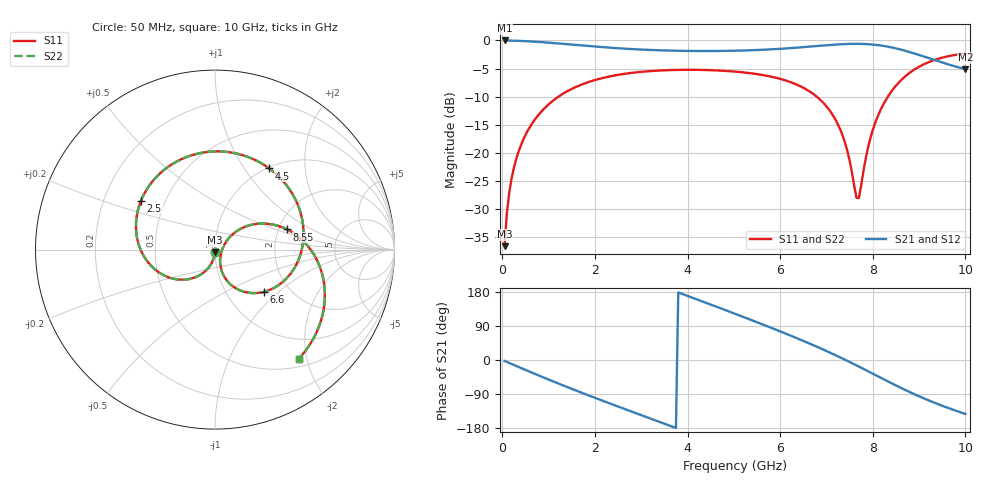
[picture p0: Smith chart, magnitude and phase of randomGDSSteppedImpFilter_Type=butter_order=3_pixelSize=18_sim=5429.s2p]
! freq	dB(S11)	phase(S11)	dB(S12)	phase(S12)
!  dB(S21)	phase(S21)	dB(S22)	phase(S22)
!S-par simulation data
#  GHz  S  DB  R 50
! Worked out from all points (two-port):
!   200 points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, 50 MHz to 10 GHz, reference 50 ohm
!   highest |S21| = 0.00 dB at 50 MHz (marker M1); lowest = -5.1 dB at 10 GHz (marker M2)
!   |S21| within 3 dB of the highest: start of sweep to 9.158 GHz
!   lowest |S11| = -36.6 dB at 50 MHz (marker M3), VSWR 1.03, Z = 49.9 - j1.48 ohm
!   |S11| at or under -10 dB: start of sweep to 1.213 GHz; 6.79 GHz to 8.326 GHz (1.537 GHz wide, 20.3 % of centre)
!   |S22| runs from -36.6 to -2.3 dB; largest |S21 - S12| = 0
!   S11 on the Smith chart (normalised r, x): 50 MHz: 1.00, -0.03; 2.5 GHz: 0.37, +0.26; 4.5 GHz: 1.02, +1.31; 6.6 GHz: 1.49, -0.80; 8.55 GHz: 2.23, +0.61; 10 GHz: 0.63, -1.86
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0.05  -36.58 -92.5  -0.00 -2.6  -0.00 -2.6  -36.58 -92.5
0.1  -30.57 -95.3  -0.01 -5.3  -0.01 -5.3  -30.57 -95.3
0.2  -24.58 -100.8  -0.03 -10.6  -0.03 -10.6  -24.58 -100.8
0.5  -16.83 -116.7  -0.13 -26.1  -0.13 -26.1  -16.83 -116.7
1.15  -10.37 -149.6  -0.49 -59.0  -0.49 -59.0  -10.37 -149.6
1.75  -7.73 -178.8  -0.92 -88.1  -0.92 -88.1  -7.73 -178.7
2.5  -6.12 146.4  -1.39 -122.8  -1.39 -122.8  -6.12 146.5
3.4  -5.35 105.8  -1.75 -163.6  -1.75 -163.6  -5.35 105.8
4.5  -5.29 56.2  -1.88 146.3  -1.88 146.3  -5.29 56.2
5.05  -5.56 31.2  -1.82 120.9  -1.82 120.9  -5.56 31.2
5.85  -6.52 -5.5  -1.57 82.9  -1.57 82.9  -6.52 -5.6
6.6  -8.88 -40.9  -1.13 45.2  -1.13 45.2  -8.89 -41.0
6.7  -9.43 -45.6  -1.06 40.0  -1.06 40.0  -9.43 -45.8
7.3  -15.88 -70.9  -0.69 6.6  -0.69 6.6  -15.90 -71.3
7.5  -21.35 -69.9  -0.62 -5.2  -0.62 -5.2  -21.41 -70.6
7.65  -28.02 -31.4  -0.60 -14.3  -0.60 -14.3  -28.29 -31.9
7.7  -28.00 -1.4  -0.60 -17.4  -0.60 -17.4  -28.26 -0.8
8  -15.93 40.2  -0.73 -36.1  -0.73 -36.1  -15.95 40.7
8.35  -9.69 26.0  -1.15 -57.9  -1.15 -57.9  -9.70 26.2
8.55  -7.59 15.6  -1.51 -70.1  -1.51 -70.1  -7.59 15.7
9.25  -3.73 -20.2  -3.25 -108.8  -3.25 -108.8  -3.73 -20.1
10  -2.31 -52.5  -5.11 -142.4  -5.11 -142.4  -2.31 -52.5
